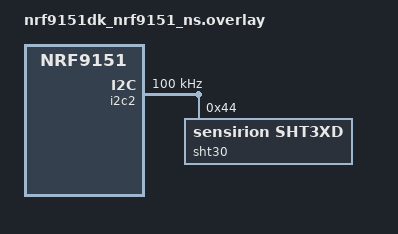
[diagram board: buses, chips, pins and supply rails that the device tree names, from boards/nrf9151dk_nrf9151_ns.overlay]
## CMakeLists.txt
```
cmake_minimum_required(VERSION 3.20.0)
find_package(Zephyr REQUIRED HINTS $ENV{ZEPHYR_BASE})

project(pio_nrf9151_blinky)

target_sources(app PRIVATE src/main.c src/qmp6988.c src/mqtt_app.c src/credentials.c src/gnss.c src/agnss.c)
```

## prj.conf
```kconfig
# ENV III sensors (SHT30 + QMP6988) over I2C
CONFIG_GPIO=y
CONFIG_I2C=y
CONFIG_SENSOR=y
CONFIG_SHT3XD=y
CONFIG_SHT3XD_SINGLE_SHOT_MODE=y
CONFIG_SHT3XD_REPEATABILITY_HIGH=y

# Logging
CONFIG_LOG=y
CONFIG_LOG_DEFAULT_LEVEL=3
CONFIG_LOG_MODE_IMMEDIATE=y

# Floating point (GNSS)
CONFIG_FPU=y
CONFIG_FPU_SHARING=y
CONFIG_PICOLIBC_IO_FLOAT=y
CONFIG_MAIN_STACK_SIZE=4096

# Cellular modem
CONFIG_NRF_MODEM_LIB=y
CONFIG_NRF_MODEM_LIB_ON_FAULT_APPLICATION_SPECIFIC=y
CONFIG_NRF_MODEM_LIB_NET_IF=y
CONFIG_NRF_MODEM_LIB_NET_IF_AUTO_DOWN=y
CONFIG_NRF_MODEM_LIB_NET_IF_DOWN_DEFAULT_LTE_DISCONNECT=y
CONFIG_LTE_LINK_CONTROL=y
CONFIG_LTE_NETWORK_MODE_LTE_M_GPS=y

# Networking (offloaded modem sockets)
CONFIG_NETWORKING=y
CONFIG_NET_SOCKETS=y
CONFIG_NET_SOCKETS_OFFLOAD=y
CONFIG_POSIX_API=y
CONFIG_NET_IPV4=y
CONFIG_NET_TCP=y
CONFIG_NET_IPV6_NBR_CACHE=n
CONFIG_NET_IPV6_MLD=n
CONFIG_NET_CONNECTION_MANAGER=y
CONFIG_NET_CONNECTION_MANAGER_MONITOR_STACK_SIZE=1024
CONFIG_NET_MGMT_EVENT_STACK_SIZE=1024

# MQTT (TLS directe)
CONFIG_MQTT_LIB=y
CONFIG_MQTT_LIB_TLS=y
CONFIG_MQTT_KEEPALIVE=120
CONFIG_MQTT_CLEAN_SESSION=y

# TLS credentials stored in the modem
CONFIG_MODEM_KEY_MGMT=y

# nRF Cloud A-GNSS (efemèride fresca). Credencials a prj.local.conf (NO commit)
CONFIG_NRF_CLOUD=y
CONFIG_NRF_CLOUD_REST=y
CONFIG_NRF_CLOUD_REST_AUTOGEN_JWT=y
CONFIG_MODEM_JWT=y
CONFIG_HW_ID_LIBRARY=y
CONFIG_NRF_CLOUD_AGNSS=y
CONFIG_MODEM_INFO=y
CONFIG_MODEM_INFO_ADD_NETWORK=y
CONFIG_NRF_CLOUD_SEC_TAG=955
CONFIG_HEAP_MEM_POOL_SIZE=16384
```

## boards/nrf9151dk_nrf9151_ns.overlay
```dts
/*
 * M5Stack ENV III (SHT30 + QMP6988) connected to the I2C2 bus
 * (Arduino header, P0.30 = SDA, P0.31 = SCL).
 */

&i2c2 {
	clock-frequency = <100000>;
	sht30: sht30@44 {
		compatible = "sensirion,sht3xd";
		reg = <0x44>;
	};
};
```

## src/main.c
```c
#include <zephyr/kernel.h>
#include <zephyr/device.h>
#include <zephyr/drivers/i2c.h>
#include <zephyr/drivers/sensor.h>
#include <zephyr/drivers/gpio.h>
#include <zephyr/sys/printk.h>
#include <string.h>
#include <math.h>

#include "qmp6988.h"
#include "mqtt_app.h"
#include "gnss.h"
#include "agnss.h"
#include "net_config.h"

#define I2C_NODE DT_NODELABEL(i2c2)
#define SHT30_NODE DT_NODELABEL(sht30)

#define NUM_LEDS 4

#define LED0_NODE DT_ALIAS(led0)
#define LED1_NODE DT_ALIAS(led1)
#define LED2_NODE DT_ALIAS(led2)
#define LED3_NODE DT_ALIAS(led3)

#define SW0_NODE DT_ALIAS(sw0)
#define SW1_NODE DT_ALIAS(sw1)
#define SW2_NODE DT_ALIAS(sw2)
#define SW3_NODE DT_ALIAS(sw3)

static const struct gpio_dt_spec leds[NUM_LEDS] = {
	GPIO_DT_SPEC_GET(LED0_NODE, gpios),
	GPIO_DT_SPEC_GET(LED1_NODE, gpios),
	GPIO_DT_SPEC_GET(LED2_NODE, gpios),
	GPIO_DT_SPEC_GET(LED3_NODE, gpios),
};

static const struct gpio_dt_spec buttons[NUM_LEDS] = {
	GPIO_DT_SPEC_GET(SW0_NODE, gpios),
	GPIO_DT_SPEC_GET(SW1_NODE, gpios),
	GPIO_DT_SPEC_GET(SW2_NODE, gpios),
	GPIO_DT_SPEC_GET(SW3_NODE, gpios),
};

static const uint32_t blink_periods_ms[NUM_LEDS] = {
	500, 1000, 1500, 2000,
};

static bool led_enabled[NUM_LEDS] = { true, true, true, true };

static struct gpio_callback button_cb[NUM_LEDS];
static struct k_work_delayable led_work[NUM_LEDS];
static struct k_work_delayable debounce_work[NUM_LEDS];

/* Anonimització de la posició enviada a MQTT:
 * es desplaça la coordenada amb una distància i direcció aleatòries
 * (200-600 m) a cada enviament, de manera que la posició publicada
 * no sigui la real i sembli mòbil.
 */
#define ANON_MIN_DIST_M 200.0
#define ANON_MAX_DIST_M 600.0
#define METERS_PER_DEG_LAT 111320.0
#define PI 3.14159265358979323846

static uint32_t anon_rng_state;

static uint32_t anon_rand(void)
{
	/* xorshift32: senzill i suficient per desplaçar la posició. */
	uint32_t x = anon_rng_state;

	x ^= x << 13;
	x ^= x >> 17;
	x ^= x << 5;
	anon_rng_state = x;

	return x;
}

static void anon_offset_m(double lat, double *dlat, double *dlon)
{
	double dist = ANON_MIN_DIST_M +
		      (anon_rand() % (uint32_t)(ANON_MAX_DIST_M - ANON_MIN_DIST_M + 1));
	double angle = (anon_rand() % 628) / 100.0; /* [0, 2π) */
	double lat_rad = lat * PI / 180.0;

	*dlat = dist * cos(angle) / METERS_PER_DEG_LAT;
	*dlon = dist * sin(angle) / (METERS_PER_DEG_LAT * cos(lat_rad));
}

static void led_toggle_work(struct k_work *work)
{
	struct k_work_delayable *dwork = k_work_delayable_from_work(work);
	int idx = dwork - led_work;

	if (!led_enabled[idx]) {
		return;
	}

	gpio_pin_toggle_dt(&leds[idx]);
	k_work_reschedule(dwork, K_MSEC(blink_periods_ms[idx] / 2));
}

static void button_process_work(struct k_work *work)
{
	struct k_work_delayable *dwork = k_work_delayable_from_work(work);
	int idx = dwork - debounce_work;

	led_enabled[idx] = !led_enabled[idx];

	if (led_enabled[idx]) {
		gpio_pin_set_dt(&leds[idx], 1);
		k_work_reschedule(&led_work[idx], K_MSEC(blink_periods_ms[idx] / 2));
	} else {
		k_work_cancel_delayable(&led_work[idx]);
		gpio_pin_set_dt(&leds[idx], 0);
	}
	printk("LED%u %s\n", idx, led_enabled[idx] ? "ON" : "OFF");
}

static void button_isr(const struct device *port, struct gpio_callback *cb,
		       gpio_port_pins_t pins)
{
	for (int i = 0; i < NUM_LEDS; i++) {
		if (cb == &button_cb[i]) {
			k_work_reschedule(&debounce_work[i], K_MSEC(50));
			break;
		}
	}
}

static void print_sensor_value(const char *label, struct sensor_value *val)
{
	printk("%s %d.%06d", label, val->val1, val->val2);
}

static void sht30_probe(const struct device *i2c_dev)
{
	uint8_t soft_reset[2] = { 0x30, 0xA2 };
	uint8_t status_cmd[2] = { 0xF3, 0x2D };
	uint8_t rx[3];

	for (int addr = 0x44; addr <= 0x45; addr++) {
		if (i2c_write(i2c_dev, soft_reset, sizeof(soft_reset), addr) != 0) {
			printk("SHT30 probe @0x%02x: no ACK\n", addr);
			continue;
		}
		printk("SHT30 probe @0x%02x: ACK after soft reset\n", addr);
		k_msleep(20);
		if (i2c_write_read(i2c_dev, addr, status_cmd, sizeof(status_cmd),
				   rx, sizeof(rx)) == 0) {
			printk("  status reg: %02x %02x %02x\n", rx[0], rx[1], rx[2]);
		} else {
			printk("  status read FAIL\n");
		}
	}
}

static void i2c_scan(const struct device *i2c_dev)
{
	uint8_t addr;

	printk("Scanning I2C bus (full range)...\n");
	for (addr = 0x03; addr <= 0x7f; addr++) {
		struct i2c_msg msgs[1];
		uint8_t buf = 0;

		msgs[0].buf = &buf;
		msgs[0].len = 1;
		msgs[0].flags = I2C_MSG_WRITE | I2C_MSG_STOP;

		if (i2c_transfer(i2c_dev, msgs, 1, addr) == 0) {
			printk("Device found at 0x%02x\n", addr);
		}
	}
	printk("Scan done\n");
}

int main(void)
{
	const struct device *i2c_dev = DEVICE_DT_GET(I2C_NODE);
	const struct device *sht30 = DEVICE_DT_GET(SHT30_NODE);

	printk("nRF9151-SMA-DK sensors + LED/button control + MQTT\n");

	anon_rng_state = (uint32_t)k_uptime_get() ^ 0x9E3779B9U;

	mqtt_app_init();
	agnss_init();

	for (int i = 0; i < 24; i++) {
		if (gnss_init() == 0) {
			break;
		}
		k_sleep(K_SECONDS(5));
	}

	for (int i = 0; i < NUM_LEDS; i++) {
		if (!device_is_ready(leds[i].port) || !device_is_ready(buttons[i].port)) {
			printk("Error: LED/button %d device not ready\n", i);
			return 0;
		}
	}

	for (int i = 0; i < NUM_LEDS; i++) {
		gpio_pin_configure_dt(&leds[i], GPIO_OUTPUT_ACTIVE);
		gpio_pin_set_dt(&leds[i], 1);

		k_work_init_delayable(&led_work[i], led_toggle_work);
		k_work_reschedule(&led_work[i], K_MSEC(blink_periods_ms[i] / 2));

		gpio_pin_configure_dt(&buttons[i], GPIO_INPUT);
		gpio_pin_interrupt_configure_dt(&buttons[i], GPIO_INT_EDGE_TO_ACTIVE);

		gpio_init_callback(&button_cb[i], button_isr, BIT(buttons[i].pin));
		gpio_add_callback(buttons[i].port, &button_cb[i]);

		k_work_init_delayable(&debounce_work[i], button_process_work);
	}

	if (!device_is_ready(i2c_dev)) {
		printk("Error: I2C2 not ready\n");
		return 0;
	}

	i2c_scan(i2c_dev);

	sht30_probe(i2c_dev);

	if (!device_is_ready(sht30)) {
		printk("Warning: SHT30 not ready - humidity unavailable\n");
	}

	if (!qmp6988_init(i2c_dev)) {
		printk("Error: QMP6988 not found\n");
		return 0;
	}
	printk("QMP6988 initialized\n");

	while (1) {
		struct sensor_value temp, hum;
		int32_t pressure_pa, temp_mdeg;
		bool sht30_ok = false;
		bool qmp_ok = false;
		char payload[160];
		static int64_t last_acquire_ms = 0;

		gnss_init();

		if (last_acquire_ms < 0 ||
		    (k_uptime_get() - last_acquire_ms) >=
			    (GNSS_ACQUIRE_INTERVAL_SECONDS * 1000)) {
			mqtt_app_gnss_acquire(GNSS_ACQUIRE_TIMEOUT_SECONDS);
			last_acquire_ms = k_uptime_get();
		}

		if (qmp6988_read(i2c_dev, &pressure_pa, &temp_mdeg) == 0) {
			qmp_ok = true;
			printk("QMP6988 temp=%d.%03d C  pressure=%d.%02d hPa\n",
			       temp_mdeg / 1000, abs(temp_mdeg) % 1000,
			       pressure_pa / 100, abs(pressure_pa) % 100);
		} else {
			printk("QMP6988 read error\n");
		}

		if (device_is_ready(sht30) &&
		    sensor_sample_fetch(sht30) == 0 &&
		    sensor_channel_get(sht30, SENSOR_CHAN_AMBIENT_TEMP, &temp) == 0 &&
		    sensor_channel_get(sht30, SENSOR_CHAN_HUMIDITY, &hum) == 0) {
			sht30_ok = true;
			printk("SHT30 temp=");
			print_sensor_value("", &temp);
			printk(" C  hum=");
			print_sensor_value("", &hum);
			printk(" %%\n");
		} else {
			printk("SHT30 read error\n");
		}

		if (qmp_ok) {
			int n = snprintk(payload, sizeof(payload),
				 "{\"temperature\":%d.%d,\"pressure\":%d",
				 temp_mdeg / 1000, (abs(temp_mdeg) % 1000) / 100,
				 pressure_pa / 100);

			double lat, lon;
			float alt, acc;

			if (gnss_position_get(&lat, &lon, &alt, &acc)) {
				int lat_deg = (int)lat;
				int lat_frac = (int)((lat - lat_deg) * 10000.0);
				int lon_deg = (int)lon;
				int lon_frac = (int)((lon - lon_deg) * 10000.0);
				int alt_int = (int)alt;
				int alt_frac = (int)((alt - alt_int) * 10.0);

				if (lat_frac < 0) {
					lat_frac = -lat_frac;
				}
				if (lon_frac < 0) {
					lon_frac = -lon_frac;
				}
				if (alt_frac < 0) {
					alt_frac = -alt_frac;
				}

				printk("GPS fix: %d.%04d, %d.%04d (alt %d.%d m, acc %d m)\n",
				       lat_deg, lat_frac, lon_deg, lon_frac,
				       alt_int, alt_frac, (int)acc);

				/* Anonimitza per a MQTT: desplaça la coordenada amb un
				 * offset aleatori de 200-600 m perquè la posició
				 * publicada no sigui la real i sembli mòbil.
				 */
				double dlat, dlon;
				double lat_anon, lon_anon;

				anon_offset_m(lat, &dlat, &dlon);
				lat_anon = lat + dlat;
				lon_anon = lon + dlon;

				lat_deg = (int)lat_anon;
				lat_frac = (int)((lat_anon - lat_deg) * 10000.0);
				lon_deg = (int)lon_anon;
				lon_frac = (int)((lon_anon - lon_deg) * 10000.0);

				if (lat_frac < 0) {
					lat_frac = -lat_frac;
				}
				if (lon_frac < 0) {
					lon_frac = -lon_frac;
				}

				n = strlen(payload);
				snprintk(payload + n, sizeof(payload) - n,
					 ",\"latitude\":%d.%04d,\"longitude\":%d.%04d,\"altitude\":%d.%d",
					 lat_deg, lat_frac, lon_deg, lon_frac,
					 alt_int, alt_frac);
			}

			if (sht30_ok) {
				n = strlen(payload);
				snprintk(payload + n, sizeof(payload) - n,
					 ",\"humidity\":%d.%d", hum.val1,
					 hum.val2 / 100000);
			} else {
				n = strlen(payload);
				snprintk(payload + n, sizeof(payload) - n, ",\"humidity\":null");
			}

			n = strlen(payload);
			snprintk(payload + n, sizeof(payload) - n,
				 ",\"buttons\":[%d,%d,%d,%d],\"leds\":[%d,%d,%d,%d]",
				 gpio_pin_get_dt(&buttons[0]), gpio_pin_get_dt(&buttons[1]),
				 gpio_pin_get_dt(&buttons[2]), gpio_pin_get_dt(&buttons[3]),
				 led_enabled[0] ? 1 : 0, led_enabled[1] ? 1 : 0,
				 led_enabled[2] ? 1 : 0, led_enabled[3] ? 1 : 0);

			n = strlen(payload);
			snprintk(payload + n, sizeof(payload) - n, "}");

			printk("PAYLOAD: %s\n", payload);
			mqtt_app_publish(payload);
		}

		k_sleep(K_SECONDS(IS_ENABLED(MQTT_USE_NTN_NBIOT)
				     ? MQTT_PUBLISH_INTERVAL_SECONDS_NTN
				     : MQTT_PUBLISH_INTERVAL_SECONDS));
	}

	return 0;
}
```

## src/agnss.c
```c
/*
 * Assistència A-GNSS "minimal" adaptada del sample cellular/gnss del NCS:
 * - Escriu l'almanac de fàbrica al mòdem.
 * - Injecta l'hora actual (AT+CCLK) i la ubicació aproximada (MCC de la xarxa).
 * No requereix compte de núvol ni credencials.
 *
 * La injecció s'executa en un thread dedicat (les ordres AT bloquegen i no es
 * poden cridar des del context de l'event GNSS).
 */

#include <stdio.h>
#include <stdlib.h>
#include <string.h>

#include <zephyr/kernel.h>
#include <zephyr/sys/printk.h>
#include <zephyr/sys/timeutil.h>
#include <nrf_modem_at.h>
#include <nrf_modem_gnss.h>

#include "agnss.h"
#include "factory_almanac_v3.h"
#include "mcc_location_table.h"

#define GPS_TO_UNIX_UTC_OFFSET_SECONDS (315964800UL)
#define GPS_TO_UTC_LEAP_SECONDS (18UL)
#define PLMN_STR_MAX_LEN 8
#define AGNSS_THREAD_STACK 4096

K_SEM_DEFINE(agnss_sem, 0, 1);
static struct nrf_modem_gnss_agnss_data_frame pending_req;
static volatile bool force_process;

static void factory_almanac_write(void)
{
	int err;

	err = nrf_modem_at_printf("AT%%XFILEWRITE=1,\"%s\",\"%s\"",
				  FACTORY_ALMANAC_DATA_V3,
				  FACTORY_ALMANAC_CHECKSUM_V3);
	if (err != 0) {
		printk("AGNSS: failed to write factory almanac\n");
		return;
	}

	printk("AGNSS: factory almanac written\n");
}

static int64_t utc_to_gps_sec(const int64_t utc_sec)
{
	return (utc_sec - GPS_TO_UNIX_UTC_OFFSET_SECONDS) + GPS_TO_UTC_LEAP_SECONDS;
}

static void gps_sec_to_day_time(int64_t gps_sec, uint16_t *gps_day, uint32_t *gps_time_of_day)
{
	*gps_day = (uint16_t)(gps_sec / SEC_PER_DAY);
	*gps_time_of_day = (uint32_t)(gps_sec % SEC_PER_DAY);
}

static void time_inject(void)
{
	int ret;
	struct tm date_time;
	int64_t utc_sec;
	int64_t gps_sec;
	struct nrf_modem_gnss_agnss_gps_data_system_time_and_sv_tow gps_time = { 0 };

	ret = nrf_modem_at_scanf("AT+CCLK?", "+CCLK: \"%u/%u/%u,%u:%u:%u",
				 &date_time.tm_year, &date_time.tm_mon,
				 &date_time.tm_mday, &date_time.tm_hour,
				 &date_time.tm_min, &date_time.tm_sec);
	if (ret != 6) {
		printk("AGNSS: could not read time from modem, skipping\n");
		return;
	}

	date_time.tm_year = date_time.tm_year + 2000 - 1900;
	date_time.tm_mon--;

	utc_sec = timeutil_timegm64(&date_time);
	gps_sec = utc_to_gps_sec(utc_sec);
	gps_sec_to_day_time(gps_sec, &gps_time.date_day, &gps_time.time_full_s);

	ret = nrf_modem_gnss_agnss_write(&gps_time, sizeof(gps_time),
					 NRF_MODEM_GNSS_AGNSS_GPS_SYSTEM_CLOCK_AND_TOWS);
	if (ret != 0) {
		printk("AGNSS: failed to inject time, error %d\n", ret);
		return;
	}

	printk("AGNSS: time injected (GPS day %u, ToD %u)\n",
	       gps_time.date_day, gps_time.time_full_s);
}

static void location_inject(void)
{
	int err;
	char plmn_str[PLMN_STR_MAX_LEN + 1];
	uint16_t mcc;
	const struct mcc_table *mcc_info;
	struct nrf_modem_gnss_agnss_data_location location = { 0 };

	err = nrf_modem_at_scanf("AT%XMONITOR",
				 "%%XMONITOR: "
				 "%*d"
				 ",%*[^,]"
				 ",%*[^,]"
				 ",%" STRINGIFY(PLMN_STR_MAX_LEN) "[^,]",
				 plmn_str);
	if (err != 1) {
		printk("AGNSS: could not read PLMN, skipping location\n");
		return;
	}

	plmn_str[4] = '\0';
	mcc = strtol(plmn_str + 1, NULL, 10);

	mcc_info = mcc_lookup(mcc);
	if (mcc_info == NULL) {
		printk("AGNSS: no location for MCC %u\n", mcc);
		return;
	}

	location.latitude = lat_convert(mcc_info->lat);
	location.longitude = lon_convert(mcc_info->lon);
	location.unc_semimajor = mcc_info->unc_semimajor;
	location.unc_semiminor = mcc_info->unc_semiminor;
	location.orientation_major = mcc_info->orientation;
	location.confidence = mcc_info->confidence;
	location.unc_altitude = 255;

	err = nrf_modem_gnss_agnss_write(&location, sizeof(location),
					 NRF_MODEM_GNSS_AGNSS_LOCATION);
	if (err) {
		printk("AGNSS: failed to inject location, error %d\n", err);
		return;
	}

	printk("AGNSS: location injected for MCC %u\n", mcc);
}

void agnss_request(const struct nrf_modem_gnss_agnss_data_frame *req)
{
	pending_req = *req;
	k_sem_give(&agnss_sem);
}

void agnss_request_force(void)
{
	memset(&pending_req, 0, sizeof(pending_req));
	pending_req.data_flags = NRF_MODEM_GNSS_AGNSS_GPS_SYS_TIME_AND_SV_TOW_REQUEST |
				 NRF_MODEM_GNSS_AGNSS_POSITION_REQUEST;
	force_process = true;
	k_sem_give(&agnss_sem);
}

static int64_t last_process_ms = -60000;

static void agnss_process(void)
{
	k_sleep(K_SECONDS(2));

	printk("AGNSS: processing assistance request\n");

	if (pending_req.data_flags & NRF_MODEM_GNSS_AGNSS_GPS_SYS_TIME_AND_SV_TOW_REQUEST) {
		time_inject();
	}

	if (pending_req.data_flags & NRF_MODEM_GNSS_AGNSS_POSITION_REQUEST) {
		location_inject();
	}
}

static void agnss_thread(void *a, void *b, void *c)
{
	ARG_UNUSED(a);
	ARG_UNUSED(b);
	ARG_UNUSED(c);

	while (true) {
		k_sem_take(&agnss_sem, K_FOREVER);

		/* Rate-limit: avoid spamming AT commands if the GNSS cannot fix.
		 * The forced request (LTE registered) must always go through so the
		 * time/location assist uses network data.
		 */
		if (!force_process && (k_uptime_get() - last_process_ms) < 60000) {
			continue;
		}
		last_process_ms = k_uptime_get();
		force_process = false;

		agnss_process();
	}
}

K_THREAD_DEFINE(agnss_thread_id, AGNSS_THREAD_STACK, agnss_thread, NULL, NULL, NULL, 5, 0, 0);

int agnss_init(void)
{
	factory_almanac_write();

	return 0;
}
```

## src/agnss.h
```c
#ifndef AGNSS_H
#define AGNSS_H

#include <nrf_modem_gnss.h>

int agnss_init(void);
void agnss_request(const struct nrf_modem_gnss_agnss_data_frame *req);
void agnss_request_force(void);

#endif /* AGNSS_H */
```

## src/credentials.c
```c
#include <zephyr/kernel.h>
#include <zephyr/logging/log.h>
#include <zephyr/sys/printk.h>

#include <modem/modem_key_mgmt.h>
#include <modem/nrf_modem_lib.h>

#include "net_config.h"

LOG_MODULE_REGISTER(credentials, LOG_LEVEL_INF);

#define TLS_SEC_TAG MQTT_TLS_SEC_TAG

#include "ca_cert.h"

static void credentials_provision(void)
{
	int err;

	err = modem_key_mgmt_write(TLS_SEC_TAG, MODEM_KEY_MGMT_CRED_TYPE_CA_CHAIN,
				   ca_certificate, sizeof(ca_certificate) - 1);
	if (err) {
		printk("Failed to provision CA cert: %d\n", err);
	} else {
		printk("CA cert provisioned\n");
	}
}

static void on_modem_lib_init(int ret, void *ctx)
{
	ARG_UNUSED(ctx);

	printk("Modem library init result: %d\n", ret);

	if (ret != 0) {
		return;
	}

	credentials_provision();
}

NRF_MODEM_LIB_ON_INIT(credentials_hook, on_modem_lib_init, NULL);
```

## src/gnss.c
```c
#include <zephyr/kernel.h>
#include <zephyr/sys/printk.h>

#include <nrf_modem_gnss.h>

#include "gnss.h"
#include "agnss.h"

static volatile bool gnss_fix_valid;
static bool gnss_started;
static uint32_t gnss_fix_count;
static double last_latitude;
static double last_longitude;
static float last_altitude;
static float last_accuracy;

static void gnss_event_handler(int event)
{
	static struct nrf_modem_gnss_pvt_data_frame pvt;
	static uint32_t pvt_count;
	static bool prev_valid;

	if (event == NRF_MODEM_GNSS_EVT_AGNSS_REQ) {
		struct nrf_modem_gnss_agnss_data_frame req;

		if (nrf_modem_gnss_read(&req, sizeof(req),
					NRF_MODEM_GNSS_DATA_AGNSS_REQ) == 0) {
			printk("GNSS: A-GNSS data requested, injecting assistance\n");
			agnss_request(&req);
		}
		return;
	}

	if (event != NRF_MODEM_GNSS_EVT_PVT) {
		return;
	}

	if (nrf_modem_gnss_read(&pvt, sizeof(pvt), NRF_MODEM_GNSS_DATA_PVT) != 0) {
		return;
	}

	uint8_t seen = 0;
	uint16_t max_cn0 = 0;

	for (int i = 0; i < NRF_MODEM_GNSS_MAX_SATELLITES; i++) {
		if (pvt.sv[i].cn0 > 0) {
			seen++;
			if (pvt.sv[i].cn0 > max_cn0) {
				max_cn0 = pvt.sv[i].cn0;
			}
		}
	}

	pvt_count++;

	if (pvt.flags & NRF_MODEM_GNSS_PVT_FLAG_FIX_VALID) {
		last_latitude = pvt.latitude;
		last_longitude = pvt.longitude;
		last_altitude = pvt.altitude;
		last_accuracy = pvt.accuracy;
		gnss_fix_valid = true;
		gnss_fix_count++;

		if (!prev_valid) {
			printk("GNSS fix obtained (%d sats)\n", seen);
		}
		prev_valid = true;
	} else {
		gnss_fix_valid = false;

		if (prev_valid) {
			printk("GNSS fix lost\n");
		}
		prev_valid = false;

		if ((pvt_count % 10) == 0) {
			printk("GNSS: searching, %d sats seen (max cn0 %d)\n",
			       seen, max_cn0);
		}
	}
}

int gnss_init(void)
{
	if (gnss_started) {
		return 0;
	}

	if (nrf_modem_gnss_event_handler_set(gnss_event_handler) != 0) {
		printk("GNSS: failed to set event handler\n");
		return -1;
	}

	if (nrf_modem_gnss_start() != 0) {
		printk("GNSS: failed to start\n");
		return -1;
	}

	gnss_started = true;
	printk("GNSS started\n");
	return 0;
}

void gnss_reset(void)
{
	gnss_fix_valid = false;
}

uint32_t gnss_fix_count_get(void)
{
	return gnss_fix_count;
}

void gnss_stop(void)
{
	nrf_modem_gnss_stop();
}

void gnss_start(void)
{
	if (!gnss_started) {
		gnss_init();
		return;
	}

	if (nrf_modem_gnss_start() != 0) {
		printk("GNSS: failed to (re)start\n");
	}
}

bool gnss_position_get(double *latitude, double *longitude, float *altitude,
		       float *accuracy)
{
	if (!gnss_fix_valid) {
		return false;
	}

	if (latitude) {
		*latitude = last_latitude;
	}
	if (longitude) {
		*longitude = last_longitude;
	}
	if (altitude) {
		*altitude = last_altitude;
	}
	if (accuracy) {
		*accuracy = last_accuracy;
	}

	return true;
}
```

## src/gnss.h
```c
#ifndef GNSS_H
#define GNSS_H

#include <stdbool.h>

int gnss_init(void);
void gnss_reset(void);
void gnss_stop(void);
void gnss_start(void);
uint32_t gnss_fix_count_get(void);
bool gnss_position_get(double *latitude, double *longitude, float *altitude,
		       float *accuracy);

#endif /* GNSS_H */
```

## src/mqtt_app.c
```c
#include <zephyr/kernel.h>
#include <zephyr/logging/log.h>
#include <zephyr/sys/printk.h>
#include <zephyr/net/socket.h>
#include <zephyr/net/mqtt.h>

#include <modem/lte_lc.h>
#include <modem/nrf_modem_lib.h>
#include <modem/modem_key_mgmt.h>

#include <string.h>

#include "mqtt_app.h"
#include "net_config.h"
#include "gnss.h"
#include "agnss.h"

LOG_MODULE_REGISTER(mqtt_app, LOG_LEVEL_INF);

#define MQTT_APP_STACK_SIZE 4096
#define MQTT_APP_THREAD_PRIORITY 3
#define MQTT_APP_QUEUE_SIZE 4
#define MQTT_APP_PAYLOAD_SIZE 160

struct payload_item {
	char data[MQTT_APP_PAYLOAD_SIZE];
	size_t len;
};

K_SEM_DEFINE(net_ready_sem, 0, 1);
K_SEM_DEFINE(connected_sem, 0, 1);
K_MSGQ_DEFINE(payload_q, sizeof(struct payload_item), MQTT_APP_QUEUE_SIZE, 4);

static volatile bool mqtt_connected;
static volatile bool network_up;
static bool lte_started;

static struct mqtt_client mqtt_client;
static struct sockaddr_storage broker;
static struct mqtt_utf8 user_name;
static struct mqtt_utf8 password;
static uint8_t rx_buffer[512];
static uint8_t tx_buffer[512];
static sec_tag_t sec_tag_list[] = { MQTT_TLS_SEC_TAG };

static void mqtt_evt_handler(struct mqtt_client *client, const struct mqtt_evt *evt)
{
	switch (evt->type) {
	case MQTT_EVT_CONNACK:
		if (evt->param.connack.return_code == MQTT_CONNECTION_ACCEPTED) {
			printk("MQTT connected\n");
			mqtt_connected = true;
			k_sem_give(&connected_sem);
		} else {
			printk("MQTT CONNACK refused, code: %d\n",
			       evt->param.connack.return_code);
			mqtt_connected = false;
		}
		break;
	case MQTT_EVT_DISCONNECT:
		printk("MQTT disconnected\n");
		mqtt_connected = false;
		break;
	default:
		break;
	}
}

static void lte_handler(const struct lte_lc_evt *const evt)
{
	switch (evt->type) {
	case LTE_LC_EVT_NW_REG_STATUS:
		switch (evt->nw_reg_status) {
		case LTE_LC_NW_REG_REGISTERED_HOME:
		case LTE_LC_NW_REG_REGISTERED_ROAMING:
			printk("LTE network registered\n");
			network_up = true;
			k_sem_give(&net_ready_sem);
			break;
		case LTE_LC_NW_REG_SEARCHING:
			printk("LTE: searching for network...\n");
			network_up = false;
			break;
		case LTE_LC_NW_REG_NOT_REGISTERED:
			printk("LTE: not registered\n");
			network_up = false;
			break;
		case LTE_LC_NW_REG_REGISTRATION_DENIED:
			printk("LTE: registration denied\n");
			network_up = false;
			break;
		case LTE_LC_NW_REG_UICC_FAIL:
			printk("LTE: SIM/UICC failure (check SIM card)\n");
			network_up = false;
			break;
		case LTE_LC_NW_REG_NO_SUITABLE_CELL:
			printk("LTE: no suitable cell (check antenna/coverage)\n");
			network_up = false;
			break;
		default:
			printk("LTE: registration status %d\n", evt->nw_reg_status);
			break;
		}
		break;
	default:
		break;
	}
}

int mqtt_app_start(void)
{
	int err;

	if (lte_started) {
		return 0;
	}

	printk("--- Modem setup ---\n");

	for (int i = 0; i < 10; i++) {
		if (nrf_modem_at_cmd(NULL, 0, "AT") == 0) {
			printk("Modem AT ready\n");
			break;
		}
		k_sleep(K_SECONDS(1));
	}

	err = lte_lc_system_mode_set(IS_ENABLED(MQTT_USE_NTN_NBIOT)
				     ? LTE_LC_SYSTEM_MODE_NTN_NBIOT
				     : IS_ENABLED(MQTT_USE_GNSS_ONLY)
				     ? LTE_LC_SYSTEM_MODE_GPS
				     : LTE_LC_SYSTEM_MODE_LTEM_GPS,
				     LTE_LC_SYSTEM_MODE_PREFER_AUTO);
	printk("system_mode_set = %d\n", err);

	enum lte_lc_system_mode cur_mode;
	enum lte_lc_system_mode_preference cur_pref;

	if (lte_lc_system_mode_get(&cur_mode, &cur_pref) == 0) {
		printk("system mode now: %d\n", cur_mode);
	}

	err = nrf_modem_at_cmd(NULL, 0, "AT+CGDCONT=1,\"IP\",\"%s\"", LTE_APN);
	if (err) {
		printk("APN set failed: %d\n", err);
	} else {
		printk("APN set: %s\n", LTE_APN);
	}

	lte_lc_register_handler(lte_handler);
	err = lte_lc_connect_async(NULL);
	if (err) {
		printk("lte_lc_connect_async failed: %d\n", err);
		return err;
	}

	lte_started = true;
	printk("LTE connect started\n");
	return 0;
}

static int broker_init(struct sockaddr_storage *storage)
{
	struct sockaddr_in *broker4 = (struct sockaddr_in *)storage;

	if (zsock_inet_pton(AF_INET, MQTT_BROKER_IP, &broker4->sin_addr) == 1) {
		broker4->sin_family = AF_INET;
		broker4->sin_port = htons(MQTT_BROKER_PORT);
		printk("Using static broker IP %s:%d\n", MQTT_BROKER_IP, MQTT_BROKER_PORT);
		return 0;
	}

	struct zsock_addrinfo hints = {
		.ai_socktype = SOCK_STREAM,
	};
	struct zsock_addrinfo *addr;
	struct zsock_addrinfo *ipv6 = NULL;
	struct zsock_addrinfo *result = NULL;
	int err;

	err = zsock_getaddrinfo(MQTT_BROKER_HOSTNAME, NULL, &hints, &result);
	if (err) {
		printk("getaddrinfo failed: %d\n", err);
		return -err;
	}

	for (addr = result; addr != NULL; addr = addr->ai_next) {
		if (addr->ai_family == AF_INET) {
			memcpy(broker4, addr->ai_addr, sizeof(*broker4));
			broker4->sin_port = htons(MQTT_BROKER_PORT);
			broker4->sin_family = AF_INET;
			zsock_freeaddrinfo(result);
			printk("Broker resolved to IPv4\n");
			return 0;
		} else if (addr->ai_family == AF_INET6) {
			struct sockaddr_in6 *a6 = (struct sockaddr_in6 *)addr->ai_addr;

			if (IN6_IS_ADDR_V4MAPPED(&a6->sin6_addr)) {
				memcpy(&broker4->sin_addr, &a6->sin6_addr.s6_addr[12], 4);
				broker4->sin_family = AF_INET;
				broker4->sin_port = htons(MQTT_BROKER_PORT);
				zsock_freeaddrinfo(result);
				printk("Broker resolved to IPv4 (mapped)\n");
				return 0;
			}

			if (ipv6 == NULL) {
				ipv6 = addr;
			}
		}
	}

	if (ipv6 != NULL) {
		struct sockaddr_in6 *broker6 = (struct sockaddr_in6 *)storage;

		memcpy(broker6, ipv6->ai_addr, sizeof(*broker6));
		broker6->sin6_port = htons(MQTT_BROKER_PORT);
		broker6->sin6_family = AF_INET6;
		zsock_freeaddrinfo(result);
		printk("Broker resolved to IPv6\n");
		return 0;
	}

	zsock_freeaddrinfo(result);
	printk("No usable address found\n");
	return -ENOENT;
}

static int mqtt_connect_once(void)
{
	int err;

	bool ca_exists = false;

	if (modem_key_mgmt_exists(MQTT_TLS_SEC_TAG, MODEM_KEY_MGMT_CRED_TYPE_CA_CHAIN,
				  &ca_exists) == 0 && ca_exists) {
		printk("CA cert present in modem\n");
	} else {
		printk("WARNING: CA cert NOT present in modem\n");
	}

	enum lte_lc_nw_reg_status rs;

	if (lte_lc_nw_reg_status_get(&rs) == 0) {
		printk("LTE reg status: %d\n", rs);
	}

	char pdn_buf[96];
	int pdn_err = nrf_modem_at_cmd(pdn_buf, sizeof(pdn_buf), "AT+CGPADDR=1");

	if (pdn_err == 0) {
		pdn_buf[sizeof(pdn_buf) - 1] = '\0';
		printk("PDN addr: %s\n", pdn_buf);
	} else {
		printk("PDN addr query failed: %d\n", pdn_err);
	}

	err = broker_init(&broker);
	if (err) {
		return err;
	}

	mqtt_client_init(&mqtt_client);

	mqtt_client.broker = (struct sockaddr *)&broker;
	mqtt_client.evt_cb = mqtt_evt_handler;
	user_name.utf8 = MQTT_BROKER_USERNAME;
	user_name.size = strlen(MQTT_BROKER_USERNAME);
	password.utf8 = MQTT_BROKER_PASSWORD;
	password.size = strlen(MQTT_BROKER_PASSWORD);

	mqtt_client.client_id = (struct mqtt_utf8){ MQTT_DEVICE_ID, strlen(MQTT_DEVICE_ID) };
	mqtt_client.user_name = &user_name;
	mqtt_client.password = &password;
	mqtt_client.protocol_version = MQTT_VERSION_3_1_1;
	mqtt_client.rx_buf = rx_buffer;
	mqtt_client.rx_buf_size = sizeof(rx_buffer);
	mqtt_client.tx_buf = tx_buffer;
	mqtt_client.tx_buf_size = sizeof(tx_buffer);

	mqtt_client.transport.type = MQTT_TRANSPORT_SECURE;

	struct mqtt_sec_config *tls = &mqtt_client.transport.tls.config;

	tls->peer_verify = TLS_PEER_VERIFY_REQUIRED;
	tls->sec_tag_list = sec_tag_list;
	tls->sec_tag_count = ARRAY_SIZE(sec_tag_list);
	tls->hostname = MQTT_BROKER_HOSTNAME;
	tls->session_cache = TLS_SESSION_CACHE_DISABLED;

	return mqtt_connect(&mqtt_client);
}

static void mqtt_thread(void *a, void *b, void *c)
{
	ARG_UNUSED(a);
	ARG_UNUSED(b);
	ARG_UNUSED(c);

	int64_t last_live_ms = 0;

	while (true) {
		int err;
		int connect_fail_count = 0;

		while (!network_up) {
			mqtt_app_start();
			k_sem_take(&net_ready_sem, K_SECONDS(5));
		}

		/* Network is up: inject A-GNSS time/location (need network time + PLMN). */
		agnss_request_force();

		k_sleep(K_SECONDS(2));

		int64_t pdn_wait = k_uptime_get();
		bool pdn_ready = false;

		while ((k_uptime_get() - pdn_wait) < 60000) {
			char pdn_buf[64];

			if (nrf_modem_at_cmd(pdn_buf, sizeof(pdn_buf), "AT+CGPADDR=1") == 0 &&
			    strchr(pdn_buf, '.') != NULL) {
				pdn_ready = true;
				break;
			}
			k_sleep(K_SECONDS(2));
		}

		printk("PDN ready: %d\n", pdn_ready ? 1 : 0);

		printk("Connecting to MQTT broker %s (TLS)\n", MQTT_BROKER_HOSTNAME);
		k_sem_reset(&connected_sem);
		mqtt_connected = false;

		err = mqtt_connect_once();
		if (err) {
			printk("mqtt_connect failed: %d\n", err);

			if (++connect_fail_count >= 5) {
				printk("Forcing LTE re-registration\n");
				lte_lc_offline();
				k_sleep(K_SECONDS(2));
				lte_lc_connect_async(NULL);
			}

			k_sleep(K_SECONDS(5));
			continue;
		}

		int64_t wait_start = k_uptime_get();

		while (!mqtt_connected && (k_uptime_get() - wait_start) < 30000) {
			struct zsock_pollfd fds = {
				.fd = mqtt_client.transport.tls.sock,
				.events = ZSOCK_POLLIN,
			};
			int ret = zsock_poll(&fds, 1, 1000);

			if (ret < 0) {
				printk("MQTT poll error: %d\n", -errno);
				break;
			}

			if (ret > 0 && (fds.revents & ZSOCK_POLLIN)) {
				if (mqtt_input(&mqtt_client) != 0) {
					printk("mqtt_input error\n");
					break;
				}
			}
		}

		if (!mqtt_connected) {
			printk("MQTT connection not established, retrying...\n");
			k_sleep(K_SECONDS(5));
			continue;
		}

		last_live_ms = k_uptime_get();

		while (mqtt_connected) {
			struct zsock_pollfd fds = {
				.fd = mqtt_client.transport.tls.sock,
				.events = ZSOCK_POLLIN,
			};
			int ret = zsock_poll(&fds, 1, 1000);

			if (ret < 0) {
				printk("MQTT poll error: %d\n", -errno);
				break;
			}

			if (ret > 0) {
				if (fds.revents & (ZSOCK_POLLERR | ZSOCK_POLLNVAL |
						   ZSOCK_POLLHUP)) {
					printk("MQTT socket error\n");
					break;
				}

				if (fds.revents & ZSOCK_POLLIN) {
					if (mqtt_input(&mqtt_client) != 0) {
						printk("mqtt_input error\n");
						break;
					}
				}
			}

			if (k_uptime_get() - last_live_ms >=
			    (CONFIG_MQTT_KEEPALIVE * 1000) / 2) {
				err = mqtt_live(&mqtt_client);

				/* -EAGAIN = encara no toca ping (no ha passat el
				 * keepalive complet des de l'última activitat).
				 */
				if (err < 0 && err != -EAGAIN) {
					printk("mqtt_live error: %d\n", err);
					break;
				}
				last_live_ms = k_uptime_get();
			}

			struct payload_item item;

			while (k_msgq_get(&payload_q, &item, K_NO_WAIT) == 0) {
				struct mqtt_publish_param param = {
					.message.payload.data = item.data,
					.message.payload.len = item.len,
					.message.topic.qos = MQTT_QOS_0_AT_MOST_ONCE,
					.message.topic.topic.utf8 = MQTT_TOPIC,
					.message.topic.topic.size = strlen(MQTT_TOPIC),
				};

				err = mqtt_publish(&mqtt_client, &param);
				if (err) {
					printk("Publish failed: %d\n", err);
				} else {
					printk("Published: %s\n", item.data);
					last_live_ms = k_uptime_get();
				}
			}
		}

		printk("MQTT connection lost, reconnecting...\n");
		k_sleep(K_SECONDS(5));
	}
}

K_THREAD_DEFINE(mqtt_thread_id, MQTT_APP_STACK_SIZE, mqtt_thread, NULL, NULL, NULL,
		MQTT_APP_THREAD_PRIORITY, 0, 0);

int mqtt_app_gnss_acquire(int timeout_sec)
{
	bool got_fix = false;
	int err;

	printk("GNSS acquire: going offline\n");
	network_up = false;
	err = lte_lc_offline();
	printk("offline = %d\n", err);
	k_sleep(K_SECONDS(5));

	err = lte_lc_system_mode_set(LTE_LC_SYSTEM_MODE_GPS, LTE_LC_SYSTEM_MODE_PREFER_AUTO);
	printk("mode(GPS) = %d\n", err);
	k_sleep(K_SECONDS(2));

	err = lte_lc_normal();
	printk("normal = %d\n", err);
	k_sleep(K_SECONDS(3));

	uint32_t before_count = gnss_fix_count_get();

	for (int i = 0; i < timeout_sec; i++) {
		if (gnss_fix_count_get() > before_count) {
			got_fix = true;
			break;
		}
		k_sleep(K_SECONDS(1));
	}

	printk("GNSS acquire: %s\n", got_fix ? "FIX" : "no fix");

	err = lte_lc_offline();
	printk("offline = %d\n", err);
	k_sleep(K_SECONDS(3));

	err = lte_lc_system_mode_set(IS_ENABLED(MQTT_USE_NTN_NBIOT)
				     ? LTE_LC_SYSTEM_MODE_NTN_NBIOT
				     : IS_ENABLED(MQTT_USE_GNSS_ONLY)
				     ? LTE_LC_SYSTEM_MODE_GPS
				     : LTE_LC_SYSTEM_MODE_LTEM_GPS,
				     LTE_LC_SYSTEM_MODE_PREFER_AUTO);
	printk("mode(LTE) = %d\n", err);
	k_sleep(K_SECONDS(2));

	err = lte_lc_normal();
	printk("normal = %d\n", err);

	err = lte_lc_connect_async(NULL);
	if (err) {
		printk("lte_lc_connect_async failed: %d\n", err);
	}

	return got_fix ? 0 : -1;
}

int mqtt_app_init(void)
{
	int err;

	err = nrf_modem_lib_init();
	if (err) {
		printk("Modem library init failed: %d\n", err);
		return err;
	}

	return 0;
}

int mqtt_app_publish(const char *json)
{
	struct payload_item item;
	size_t len = strlen(json);

	if (len >= sizeof(item.data)) {
		return -EMSGSIZE;
	}

	memcpy(item.data, json, len + 1);
	item.len = len;

	if (k_msgq_put(&payload_q, &item, K_NO_WAIT) != 0) {
		printk("Payload queue full, dropping message\n");
		return -ENOBUFS;
	}

	return 0;
}

bool mqtt_app_connected(void)
{
	return mqtt_connected;
}
```

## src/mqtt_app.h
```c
#ifndef MQTT_APP_H
#define MQTT_APP_H

#include <stdbool.h>

int mqtt_app_init(void);
int mqtt_app_start(void);
int mqtt_app_gnss_acquire(int timeout_sec);
int mqtt_app_publish(const char *json);
bool mqtt_app_connected(void);

#endif /* MQTT_APP_H */
```

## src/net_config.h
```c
/* MQTT + LTE connection configuration.
 * Broker públic HiveMQ (TLS/RSA) per validar la pipeline abans del broker propi.
 */

#define MQTT_BROKER_HOSTNAME "broker.hivemq.com"
#define MQTT_BROKER_IP "3.69.77.221"
#define MQTT_BROKER_PORT 8883
#define MQTT_DEVICE_ID "nrf1"
#define MQTT_TOPIC "nrf9151/data"

/* Cadència de publicació. Pla terrestre Onomondo 50 MB/mes: cada publicació
 * costa ~160 B + sobrecost LTE-M/NB-IoT. Amb 300 s (5 min) ≈ 46 KB/mes. */
#define MQTT_PUBLISH_INTERVAL_SECONDS 300

/* NTN NB-IoT (satèl·lit GEO/LEO).
 * IMPORTANT: requereix el firmware de mòdem mfw_nrf9151-ntn flashejat (un
 * firmware diferent del terrestre; no es poden usar tots dos alhora) i que el
 * pla satel·lital estigui actiu. El pla és 50 KB/mes: ~160 B per missatge =>
 * ~1 missatge cada 3 h és prudent. */
#define MQTT_USE_NTN_NBIOT 0
#define MQTT_PUBLISH_INTERVAL_SECONDS_NTN 10800

/* Mode GNSS-únic (prova): el mòdem dedica tot l'RF al GNSS i no fa LTE.
 * Deixar a 0: l'alternança automàtica (mqtt_app_gnss_acquire) ja fa bursts
 * GNSS-únic cada GNSS_ACQUIRE_INTERVAL_SECONDS per obtenir fix net. */
#define MQTT_USE_GNSS_ONLY 0

/* Alternança de modes: cada interval, es fa un burst GNSS-únic llarg (15 min)
 * per obtenir un fix net (el GNSS triga ~10 min a descodificar l'efemèride),
 * i després es torna a LTE-M+GPS per transmetre. La posició queda emmagatzemada. */
#define GNSS_ACQUIRE_INTERVAL_SECONDS 3600
#define GNSS_ACQUIRE_TIMEOUT_SECONDS 900

#define MQTT_BROKER_USERNAME ""
#define MQTT_BROKER_PASSWORD ""

#define MQTT_TLS_SEC_TAG 955

#define LTE_APN "onomondo"
```

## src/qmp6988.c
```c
#include <zephyr/device.h>
#include <zephyr/drivers/i2c.h>
#include <zephyr/kernel.h>

#include "qmp6988.h"

typedef int16_t S16;
typedef uint16_t U16;
typedef int32_t S32;
typedef uint32_t U32;
typedef int64_t S64;

#define SUBTRACTOR 8388608

typedef struct {
	S32 COE_a0;
	S16 COE_a1;
	S16 COE_a2;
	S32 COE_b00;
	S16 COE_bt1;
	S16 COE_bt2;
	S16 COE_bp1;
	S16 COE_b11;
	S16 COE_bp2;
	S16 COE_b12;
	S16 COE_b21;
	S16 COE_bp3;
} qmp6988_cali_data_t;

typedef struct {
	S32 a0, b00;
	S32 a1, a2;
	S64 bt1, bt2, bp1, b11, bp2, b12, b21, bp3;
} qmp6988_ik_data_t;

static qmp6988_ik_data_t ik;

static int qmp6988_write_reg(const struct device *i2c_dev, uint8_t reg,
			     uint8_t val)
{
	uint8_t buf[2] = { reg, val };

	return i2c_write(i2c_dev, buf, sizeof(buf), QMP6988_ADDR);
}

static int qmp6988_read_bytes(const struct device *i2c_dev, uint8_t reg,
			      uint8_t *buf, uint8_t len)
{
	return i2c_write_read(i2c_dev, QMP6988_ADDR, &reg, 1, buf, len);
}

static void qmp6988_get_calibration(const struct device *i2c_dev)
{
	uint8_t tr[QMP6988_CALIBRATION_LEN] = { 0 };

	qmp6988_read_bytes(i2c_dev, QMP6988_CALIBRATION_START, tr,
			   QMP6988_CALIBRATION_LEN);

	ik.a0 = (S32)((((S32)(tr[18]) << 12) | ((S32)(tr[19]) << 4) |
		       (tr[24] & 0x0f))
		      << 12) >>
		12;
	ik.a1 = (S16)((tr[20] << 8) | tr[21]);
	ik.a2 = (S16)((tr[22] << 8) | tr[23]);

	ik.b00 = (S32)((((S32)(tr[0]) << 12) | ((S32)(tr[1]) << 4) |
			((tr[24] & 0xf0) >> 4))
		       << 12) >>
		 12;
	ik.bt1 = (S16)((tr[2] << 8) | tr[3]);
	ik.bt2 = (S16)((tr[4] << 8) | tr[5]);
	ik.bp1 = (S16)((tr[6] << 8) | tr[7]);
	ik.b11 = (S16)((tr[8] << 8) | tr[9]);
	ik.bp2 = (S16)((tr[10] << 8) | tr[11]);
	ik.b12 = (S16)((tr[12] << 8) | tr[13]);
	ik.b21 = (S16)((tr[14] << 8) | tr[15]);
	ik.bp3 = (S16)((tr[16] << 8) | tr[17]);

	ik.a1 = 3608L * (S32)ik.a1 - 1731677965L;
	ik.a2 = 16889L * (S32)ik.a2 - 87619360L;

	ik.bt1 = 2982L * (S64)ik.bt1 + 107370906L;
	ik.bt2 = 329854L * (S64)ik.bt2 + 108083093L;
	ik.bp1 = 19923L * (S64)ik.bp1 + 1133836764L;
	ik.b11 = 2406L * (S64)ik.b11 + 118215883L;
	ik.bp2 = 3079L * (S64)ik.bp2 - 181579595L;
	ik.b12 = 6846L * (S64)ik.b12 + 85590281L;
	ik.b21 = 13836L * (S64)ik.b21 + 79333336L;
	ik.bp3 = 2915L * (S64)ik.bp3 + 157155561L;
}

static S16 qmp6988_conv_temperature(S32 dt)
{
	S64 wk1, wk2;

	wk1 = (S64)ik.a1 * (S64)dt;
	wk2 = ((S64)ik.a2 * (S64)dt) >> 14;
	wk2 = (wk2 * (S64)dt) >> 10;
	wk2 = ((wk1 + wk2) / 32767) >> 19;

	return (S16)((ik.a0 + wk2) >> 4);
}

static S32 qmp6988_get_pressure(S32 dp, S16 tx)
{
	S64 wk1, wk2, wk3;

	wk1 = ((S64)ik.bt1 * (S64)tx);
	wk2 = ((S64)ik.bp1 * (S64)dp) >> 5;
	wk1 += wk2;

	wk2 = ((S64)ik.bt2 * (S64)tx) >> 1;
	wk2 = (wk2 * (S64)tx) >> 8;
	wk3 = wk2;

	wk2 = ((S64)ik.b11 * (S64)tx) >> 4;
	wk2 = (wk2 * (S64)dp) >> 1;
	wk3 += wk2;

	wk2 = ((S64)ik.bp2 * (S64)dp) >> 13;
	wk2 = (wk2 * (S64)dp) >> 1;
	wk3 += wk2;

	wk1 += wk3 >> 14;

	wk2 = ((S64)ik.b12 * (S64)tx);
	wk2 = (wk2 * (S64)tx) >> 22;
	wk2 = (wk2 * (S64)dp) >> 1;
	wk3 = wk2;

	wk2 = ((S64)ik.b21 * (S64)tx) >> 6;
	wk2 = (wk2 * (S64)dp) >> 23;
	wk2 = (wk2 * (S64)dp) >> 1;
	wk3 += wk2;

	wk2 = ((S64)ik.bp3 * (S64)dp) >> 12;
	wk2 = (wk2 * (S64)dp) >> 23;
	wk2 = (wk2 * (S64)dp);
	wk3 += wk2;

	wk1 += wk3 >> 15;
	wk1 /= 32767L;
	wk1 >>= 11;
	wk1 += ik.b00;

	return (S32)wk1;
}

bool qmp6988_init(const struct device *i2c_dev)
{
	uint8_t chip_id;
	uint8_t ctrl;
	int err;

	err = qmp6988_read_bytes(i2c_dev, QMP6988_CHIP_ID_REG, &chip_id, 1);
	if (err != 0 || chip_id != QMP6988_CHIP_ID) {
		return false;
	}

	qmp6988_write_reg(i2c_dev, QMP6988_RESET_REG, 0xE6);
	k_msleep(20);
	qmp6988_write_reg(i2c_dev, QMP6988_RESET_REG, 0x00);

	qmp6988_get_calibration(i2c_dev);

	qmp6988_read_bytes(i2c_dev, QMP6988_CTRLMEAS_REG, &ctrl, 1);
	ctrl = (ctrl & 0xfc) | QMP6988_NORMAL_MODE;
	qmp6988_write_reg(i2c_dev, QMP6988_CTRLMEAS_REG, ctrl);

	qmp6988_write_reg(i2c_dev, QMP6988_CONFIG_REG, 0x02);

	qmp6988_read_bytes(i2c_dev, QMP6988_CTRLMEAS_REG, &ctrl, 1);
	ctrl = (ctrl & 0xe3) | (0x04 << 2);
	qmp6988_write_reg(i2c_dev, QMP6988_CTRLMEAS_REG, ctrl);

	qmp6988_read_bytes(i2c_dev, QMP6988_CTRLMEAS_REG, &ctrl, 1);
	ctrl = (ctrl & 0x1f) | (0x01 << 5);
	qmp6988_write_reg(i2c_dev, QMP6988_CTRLMEAS_REG, ctrl);

	k_msleep(50);

	return true;
}

int qmp6988_read(const struct device *i2c_dev, int32_t *pressure_pa,
		 int32_t *temp_mdeg)
{
	uint8_t tr[6] = { 0 };
	U32 p_read, t_read;
	S32 p_raw, t_raw;
	S16 t_int;
	S32 p_int;

	int err = qmp6988_read_bytes(i2c_dev, QMP6988_PRESSURE_MSB_REG, tr, 6);
	if (err != 0) {
		return err;
	}

	p_read = (U32)(((U32)tr[0] << 16) | ((U16)tr[1] << 8) | tr[2]);
	t_read = (U32)(((U32)tr[3] << 16) | ((U16)tr[4] << 8) | tr[5]);
	p_raw = (S32)(p_read - SUBTRACTOR);
	t_raw = (S32)(t_read - SUBTRACTOR);

	t_int = qmp6988_conv_temperature(t_raw);
	p_int = qmp6988_get_pressure(p_raw, t_int);

	if (temp_mdeg) {
		*temp_mdeg = (int32_t)t_int * 1000 / 256;
	}
	if (pressure_pa) {
		*pressure_pa = (int32_t)p_int / 16;
	}

	return 0;
}
```

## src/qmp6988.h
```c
#ifndef QMP6988_H
#define QMP6988_H

#include <stdint.h>
#include <stdbool.h>

#define QMP6988_ADDR 0x70
#define QMP6988_CHIP_ID 0x5C

#define QMP6988_CHIP_ID_REG     0xD1
#define QMP6988_RESET_REG       0xE0
#define QMP6988_CTRLMEAS_REG    0xF4
#define QMP6988_CONFIG_REG      0xF1
#define QMP6988_PRESSURE_MSB_REG 0xF7
#define QMP6988_CALIBRATION_START 0xA0
#define QMP6988_CALIBRATION_LEN 25

#define QMP6988_NORMAL_MODE 0x03

bool qmp6988_init(const struct device *i2c_dev);
int qmp6988_read(const struct device *i2c_dev, int32_t *pressure_pa,
		 int32_t *temp_mdeg);

#endif
```
